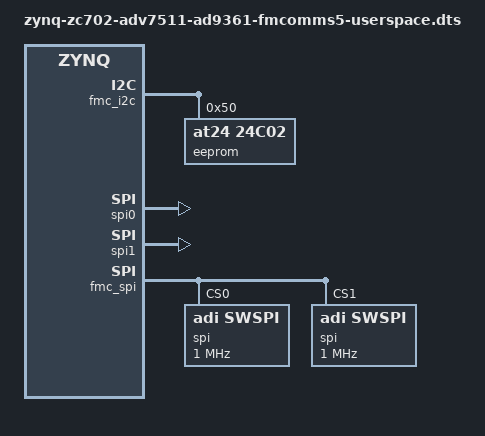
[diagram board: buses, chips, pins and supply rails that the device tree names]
// SPDX-License-Identifier: GPL-2.0
/*
 * Analog Devices AD-FMCOMMS5-EBZ
 * https://wiki.analog.com/resources/eval/user-guides/ad-fmcomms5-ebz
 *
 * hdl_project: <fmcomms5/zc702>
 * board_revision: <>
 *
 * Copyright (C) 2014-2020 Analog Devices Inc.
 */
/dts-v1/;

#include "zynq-zc702.dtsi"
#include "zynq-zc702-adv7511.dtsi"

&fmc_i2c {
	eeprom@50 {
		compatible = "at24,24c02";
		reg = <0x50>;
	};
};

&spi0 {
	status = "okay";
};

&spi1 {
	status = "okay";
};

#define fmc_spi spi0
#define pmod_spi spi1

&fmc_spi {
	spi@0 {
		compatible = "adi,swspi";
		spi-cpha;
		reg = <0x0>;
		spi-max-frequency = <1000000>;
	};
	spi@1 {
		compatible = "adi,swspi";
		spi-cpha;
		reg = <0x1>;
		spi-max-frequency = <1000000>;
	};
};

&fpga_axi {
	ad9361_rx@79020000 {
		compatible = "dmem-uio";
		reg = <0x79020000 0x6000>;
	};

	ad9361_tx@79024000 {
		compatible = "dmem-uio";
		reg = <0x79024000 0x2000>;
	};

	rx_dma@7c400000 {
		compatible = "dmem-uio";
		reg = <0x7c400000 0x10000>;
		uio,number-of-dynamic-regions = <1>;
		uio,dynamic-regions-sizes = <262144>;
	};

	tx_dma@7c420000 {
		compatible = "dmem-uio";
		reg = <0x7c420000 0x10000>;
		uio,number-of-dynamic-regions = <1>;
		uio,dynamic-regions-sizes = <262144>;
	};

	ad9361_b_rx@79040000 {
		compatible = "dmem-uio";
		reg = <0x79040000 0x6000>;
	};

	ad9361_b_tx@79044000 {
		compatible = "dmem-uio";
		reg = <0x79044000 0x2000>;
	};
};

